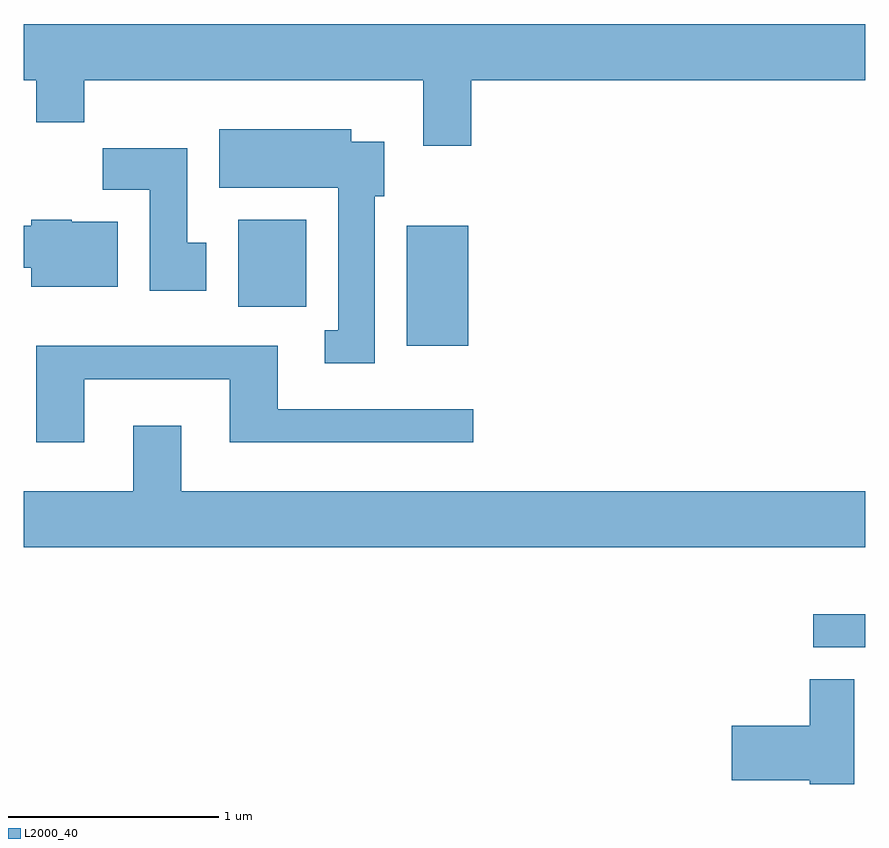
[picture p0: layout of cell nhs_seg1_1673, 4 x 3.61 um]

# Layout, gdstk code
import gdstk
lib = gdstk.Library(unit=1e-6, precision=1e-09)
def R(c, l, rs):  # rectangles x0, y0, x1, y1
    for r in rs: c.add(gdstk.rectangle(r[:2], r[2:], *l))
def P(c, l, *ps):  # polygons
    for p in ps: c.add(gdstk.Polygon(p, *l))
L2000_40 = (2000, 40)

nhs_seg1_1673 = lib.new_cell('nhs_seg1_1673')
R(nhs_seg1_1673, L2000_40, [(239.363,972.361,239.611,972.519), (237.431,973.796,237.724,974.364), (236.631,973.981,236.954,974.394)])
P(nhs_seg1_1673, L2000_40, [(237.739,975.056),(239.611,975.056),(239.611,975.324),(235.611,975.324),(235.611,975.056),(235.671,975.056),(235.671,974.856),(235.899,974.856),(235.899,975.056),(237.511,975.056),(237.511,974.746),(237.739,974.746)],
  [(237.279,974.506),(237.324,974.506),(237.324,974.764),(237.169,974.764),(237.169,974.824),(236.541,974.824),(236.541,974.546),(237.106,974.546),(237.106,973.869),(237.043,973.869),(237.043,973.711),(237.279,973.711)],
  [(236.479,974.284),(236.389,974.284),(236.389,974.734),(235.986,974.734),(235.986,974.536),(236.211,974.536),(236.211,974.056),(236.479,974.056)],
  [(236.059,974.384),(235.84,974.384),(235.84,974.394),(235.646,974.394),(235.646,974.364),(235.611,974.364),(235.611,974.166),(235.646,974.166),(235.646,974.076),(236.059,974.076)],
  [(235.899,973.636),(236.591,973.636),(236.591,973.336),(237.748,973.336),(237.748,973.494),(236.819,973.494),(236.819,973.794),(235.671,973.794),(235.671,973.336),(235.899,973.336)],
  [(239.611,973.104),(236.359,973.104),(236.359,973.414),(236.131,973.414),(236.131,973.104),(235.611,973.104),(235.611,972.836),(239.611,972.836)],
  [(239.559,972.209),(239.346,972.209),(239.346,971.989),(238.976,971.989),(238.976,971.731),(239.346,971.731),(239.346,971.712),(239.559,971.712)])

lib.write_gds('nhs_seg1_1673.gds')
